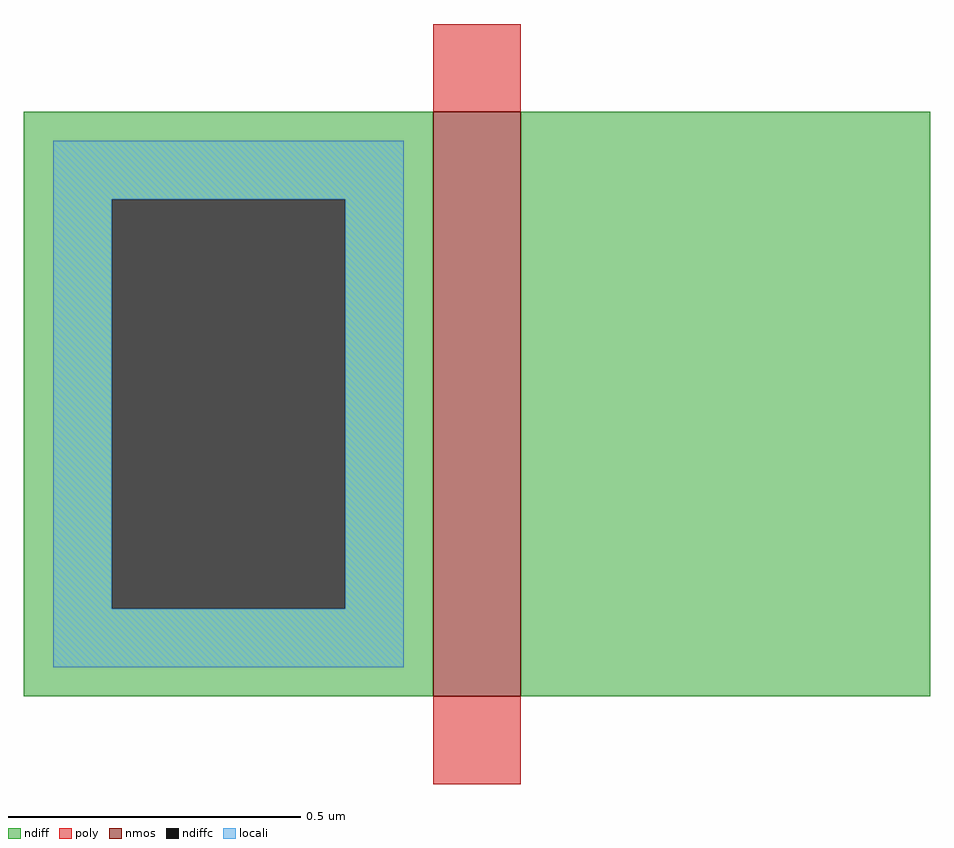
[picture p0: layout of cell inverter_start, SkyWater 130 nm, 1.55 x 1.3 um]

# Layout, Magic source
magic
tech sky130A
<< nmos >>
rect 20 60 35 160
<< ndiff >>
rect -50 145 20 160
rect -50 75 -35 145
rect 5 75 20 145
rect -50 60 20 75
rect 35 60 105 160
<< ndiffc >>
rect -35 75 5 145
<< poly >>
rect 20 160 35 175
rect 20 45 35 60
<< locali >>
rect -45 145 15 155
rect -45 75 -35 145
rect 5 75 15 145
rect -45 65 15 75
<< end >>
